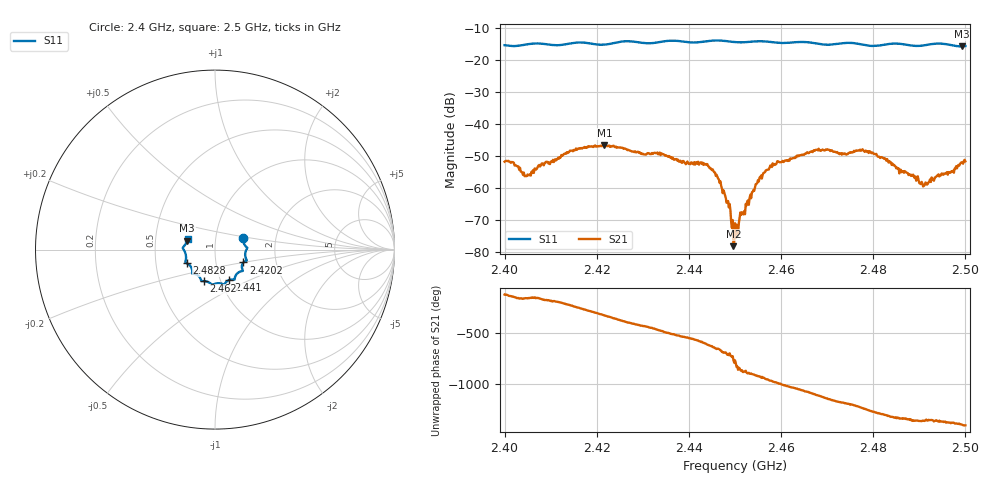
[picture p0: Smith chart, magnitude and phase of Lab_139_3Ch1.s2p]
# Hz S RI R 50
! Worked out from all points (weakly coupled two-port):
!   601 points, 2.4 GHz to 2.5 GHz, reference 50 ohm
!   highest |S21| = -46.70 dB at 2.4217 GHz (marker M1); lowest = -78.2 dB at 2.4497 GHz (marker M2)
!   lowest |S11| = -15.8 dB at 2.4992 GHz (marker M3), VSWR 1.39, Z = 36.4 + j3.73 ohm
!   |S11| at or under -10 dB: start of sweep to end of sweep
!   S12 and S22 are empty: the file has one direction only
!   S11 on the Smith chart (normalised r, x): 2.4 GHz: 1.36, +0.17; 2.4202 GHz: 1.36, -0.20; 2.441 GHz: 1.10, -0.39; 2.462 GHz: 0.83, -0.30; 2.4828 GHz: 0.72, -0.11; 2.5 GHz: 0.73, +0.09
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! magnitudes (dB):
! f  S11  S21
! 2.4 GHz  -15.4  -51.8
! 2.4048 GHz  -15.2  -56.3
! 2.4167 GHz  -14.6  -47.5
! 2.4202 GHz  -15.2  -47.0
! 2.4217 GHz  -15.2  -46.7
! 2.4333 GHz  -14.5  -49.5
! 2.441 GHz  -14.6  -52.6
! 2.4438 GHz  -14.2  -52.5
! 2.446 GHz  -13.9  -55.9
! 2.4485 GHz  -14.2  -64.1
! 2.4497 GHz  -14.4  -78.2
! 2.45 GHz  -14.4  -71.0
! 2.4558 GHz  -14.2  -57.1
! 2.458 GHz  -14.5  -53.5
! 2.462 GHz  -14.6  -50.8
! 2.4667 GHz  -14.6  -48.5
! 2.4775 GHz  -15.2  -48.2
! 2.4828 GHz  -15.1  -51.5
! 2.4833 GHz  -15.0  -52.1
! 2.4913 GHz  -15.4  -58.3
! 2.4992 GHz  -15.8  -52.0
! 2.5 GHz  -15.7  -51.7
